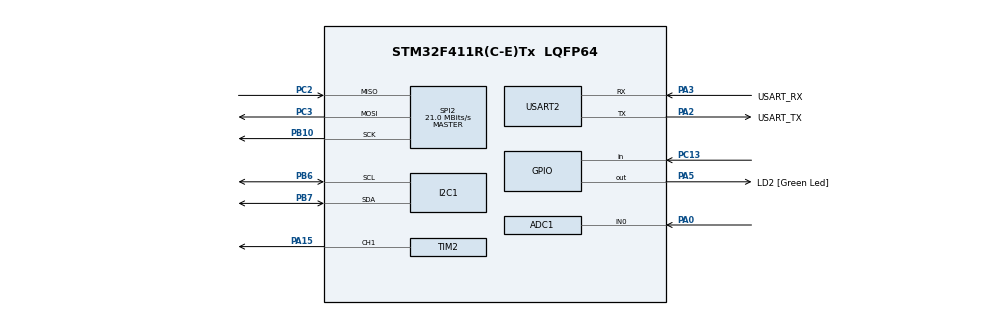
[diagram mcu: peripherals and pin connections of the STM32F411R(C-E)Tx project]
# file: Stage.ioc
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ADC1.Channel-0\#ChannelRegularConversion=ADC_CHANNEL_0
ADC1.NbrOfConversionFlag=1
ADC1.Rank-0\#ChannelRegularConversion=1
ADC1.SamplingTime-0\#ChannelRegularConversion=ADC_SAMPLETIME_3CYCLES
ADC1.master=1
Mcu.Family=STM32F4
Mcu.Name=STM32F411R(C-E)Tx
Mcu.Package=LQFP64
NVIC.PriorityGroup=NVIC_PRIORITYGROUP_0
PA0-WKUP.Signal=ADCx_IN0
PA13.GPIO_Label=TMS
PA13.Mode=Serial_Wire
PA13.Signal=SYS_JTMS-SWDIO
PA14.GPIO_Label=TCK
PA14.Mode=Serial_Wire
PA14.Signal=SYS_JTCK-SWCLK
PA15.Signal=S_TIM2_CH1_ETR
PA2.GPIO_Label=USART_TX
PA2.Mode=Asynchronous
PA2.Signal=USART2_TX
PA3.GPIO_Label=USART_RX
PA3.Mode=Asynchronous
PA3.Signal=USART2_RX
PA5.GPIO_Label=LD2 [Green Led]
PA5.Signal=GPIO_Output
PB10.Mode=Full_Duplex_Master
PB10.Signal=SPI2_SCK
PB3.GPIO_Label=SWO
PB3.Signal=SYS_JTDO-SWO
PB6.Mode=I2C
PB6.Signal=I2C1_SCL
PB7.Mode=I2C
PB7.Signal=I2C1_SDA
PC13-ANTI_TAMP.GPIO_PuPd=GPIO_PULLUP
PC13-ANTI_TAMP.Signal=GPIO_Input
PC14-OSC32_IN.Mode=LSE-External-Oscillator
PC14-OSC32_IN.Signal=RCC_OSC32_IN
PC15-OSC32_OUT.Mode=LSE-External-Oscillator
PC15-OSC32_OUT.Signal=RCC_OSC32_OUT
PC2.Mode=Full_Duplex_Master
PC2.Signal=SPI2_MISO
PC3.Mode=Full_Duplex_Master
PC3.Signal=SPI2_MOSI
PH0\ -\ OSC_IN.Mode=HSE-External-Clock-Source
PH0\ -\ OSC_IN.Signal=RCC_OSC_IN
PH1\ -\ OSC_OUT.Mode=HSE-External-Clock-Source
PH1\ -\ OSC_OUT.Signal=RCC_OSC_OUT
ProjectManager.HeapSize=0x200
ProjectManager.StackSize=0x400
ProjectManager.TargetToolchain=STM32CubeIDE
RCC.48MHZClocksFreq_Value=84000000
RCC.AHBFreq_Value=84000000
RCC.APB1CLKDivider=RCC_HCLK_DIV2
RCC.APB1Freq_Value=42000000
RCC.APB1TimFreq_Value=84000000
RCC.APB2Freq_Value=84000000
RCC.APB2TimFreq_Value=84000000
RCC.CortexFreq_Value=84000000
RCC.FLatency-AdvancedSettings=FLASH_LATENCY_2
RCC.HCLKFreq_Value=84000000
RCC.HSE_VALUE=8000000
RCC.HSI_VALUE=16000000
RCC.PLLN=336
RCC.PLLP=RCC_PLLP_DIV4
RCC.SYSCLKFreq_VALUE=84000000
RCC.SYSCLKSource=RCC_SYSCLKSOURCE_PLLCLK
RCC.VCOOutputFreq_Value=336000000
SH.ADCx_IN0.0=ADC1_IN0,IN0
SH.S_TIM2_CH1_ETR.0=TIM2_CH1,PWM Generation1 CH1
SPI2.CalculateBaudRate=21.0 MBits/s
SPI2.Direction=SPI_DIRECTION_2LINES
SPI2.Mode=SPI_MODE_MASTER
SPI2.VirtualType=VM_MASTER
TIM2.Channel-PWM\ Generation1\ CH1=TIM_CHANNEL_1
TIM2.Period=999
TIM2.Prescaler=83
USART2.VirtualMode=VM_ASYNC
board=NUCLEO-F411RE

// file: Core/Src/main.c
/* USER CODE BEGIN Header */
/**
  ******************************************************************************
  * @file           : main.c
  * @brief          : Main program body
  ******************************************************************************
  * @attention
  *
  * Copyright (c) 2025 STMicroelectronics.
  * All rights reserved.
  *
  * This software is licensed under terms that can be found in the LICENSE file
  * in the root directory of this software component.
  * If no LICENSE file comes with this software, it is provided AS-IS.
  *
  ******************************************************************************
  */
/* USER CODE END Header */
#include "main.h"
#include "test_functions.h"
#include "system_config.h"

/* USER CODE BEGIN Includes */
#include <string.h>
/* USER CODE END Includes */

ADC_HandleTypeDef hadc1;

I2C_HandleTypeDef hi2c1;

SPI_HandleTypeDef hspi2;

TIM_HandleTypeDef htim2;

UART_HandleTypeDef huart2;

int main(void)
{

  /* MCU Configuration--------------------------------------------------------*/

  /* Reset of all peripherals, Initializes the Flash interface and the Systick. */
  HAL_Init();

  /* Configure the system clock */
  SystemClock_Config();

  /* Initialize all configured peripherals */
  MX_GPIO_Init();
  MX_USART2_UART_Init();
  MX_ADC1_Init();
  MX_SPI2_Init();
  MX_I2C1_Init();
  MX_TIM2_Init();

  /* Infinite loop */
  /* USER CODE BEGIN WHILE */
  char cmd;
  while (1)
  {
    HAL_UART_Receive(&huart2, (uint8_t*)&cmd, 1, HAL_MAX_DELAY);
    if (cmd == 't') {
      run_all_tests();
    } else if (cmd == 'b') {
      test_led();
    } else if (cmd == 'c') {
      test_button();
    } else if (cmd == 'd') {
      test_uart();
    } else if (cmd == 'e') {
      test_adc();
    } else if (cmd == 'f') {
      test_spi();
    } else if (cmd == 'g') {
      test_i2c();
    } else if (cmd == 'h') {
      test_timer();
    }
  }
  /* USER CODE END WHILE */

}

void Error_Handler(void)
{
  __disable_irq();
  while (1)
  {
  }
}
